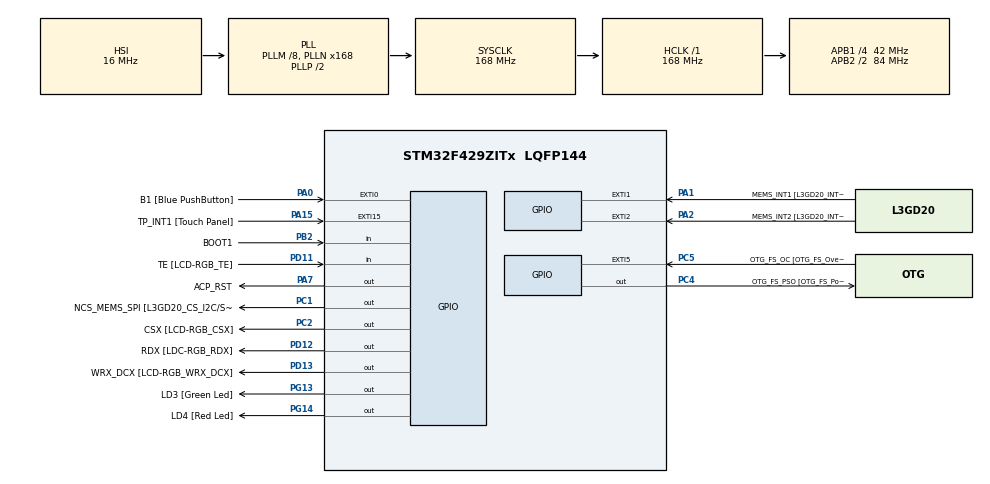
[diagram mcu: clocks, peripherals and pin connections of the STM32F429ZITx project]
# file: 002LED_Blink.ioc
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Mcu.Family=STM32F4
Mcu.Name=STM32F429ZITx
Mcu.Package=LQFP144
NVIC.PriorityGroup=NVIC_PRIORITYGROUP_4
NVIC.TIM6_DAC_IRQn=true\:0\:0\:false\:false\:true\:false\:true\:true
NVIC.TimeBase=TIM6_DAC_IRQn
NVIC.TimeBaseIP=TIM6
PA0/WKUP.GPIO_Label=B1 [Blue PushButton]
PA0/WKUP.GPIO_ModeDefaultEXTI=GPIO_MODE_EVT_RISING
PA0/WKUP.GPIO_PuPd=GPIO_NOPULL
PA0/WKUP.Signal=GPXTI0
PA1.GPIO_Label=MEMS_INT1 [L3GD20_INT1]
PA1.GPIO_ModeDefaultEXTI=GPIO_MODE_EVT_RISING
PA1.GPIO_PuPd=GPIO_NOPULL
PA1.Signal=GPXTI1
PA10.GPIO_Label=STLINK_TX [STM32F103CBT6_PA2]
PA10.Signal=USART1_RX
PA11.GPIO_Label=R4
PA11.GPIO_Mode=GPIO_MODE_AF_PP
PA11.GPIO_PuPd=GPIO_NOPULL
PA11.GPIO_Speed=GPIO_SPEED_FREQ_LOW
PA11.Signal=LTDC_R4
PA12.GPIO_Label=R5
PA12.GPIO_Mode=GPIO_MODE_AF_PP
PA12.GPIO_PuPd=GPIO_NOPULL
PA12.GPIO_Speed=GPIO_SPEED_FREQ_LOW
PA12.Signal=LTDC_R5
PA13.GPIO_Label=SWDIO
PA13.Signal=SYS_JTMS-SWDIO
PA14.GPIO_Label=SWCLK
PA14.Signal=SYS_JTCK-SWCLK
PA15.GPIO_Label=TP_INT1 [Touch Panel]
PA15.GPIO_ModeDefaultEXTI=GPIO_MODE_EVT_RISING
PA15.GPIO_PuPd=GPIO_NOPULL
PA15.Signal=GPXTI15
PA2.GPIO_Label=MEMS_INT2 [L3GD20_INT2]
PA2.GPIO_ModeDefaultEXTI=GPIO_MODE_EVT_RISING
PA2.GPIO_PuPd=GPIO_NOPULL
PA2.Signal=GPXTI2
PA3.GPIO_Label=B5
PA3.GPIO_Mode=GPIO_MODE_AF_PP
PA3.GPIO_PuPd=GPIO_NOPULL
PA3.GPIO_Speed=GPIO_SPEED_FREQ_LOW
PA3.Signal=LTDC_B5
PA4.GPIO_Label=VSYNC
PA4.GPIO_Mode=GPIO_MODE_AF_PP
PA4.GPIO_PuPd=GPIO_NOPULL
PA4.GPIO_Speed=GPIO_SPEED_FREQ_LOW
PA4.Signal=LTDC_VSYNC
PA6.GPIO_Label=G2
PA6.GPIO_Mode=GPIO_MODE_AF_PP
PA6.GPIO_PuPd=GPIO_NOPULL
PA6.GPIO_Speed=GPIO_SPEED_FREQ_LOW
PA6.Signal=LTDC_G2
PA7.GPIO_Label=ACP_RST
PA7.GPIO_Mode=GPIO_MODE_OUTPUT_PP
PA7.GPIO_PuPd=GPIO_NOPULL
PA7.GPIO_Speed=GPIO_SPEED_FREQ_LOW
PA7.Signal=GPIO_Output
PA8.GPIO_Label=I2C3_SCL [ACP/RF_SCL]
PA8.GPIO_Mode=GPIO_MODE_AF_OD
PA8.GPIO_PuPd=GPIO_NOPULL
PA8.GPIO_Speed=GPIO_SPEED_FREQ_LOW
PA8.Signal=I2C3_SCL
PA9.GPIO_Label=STLINK_RX [STM32F103CBT6_PA3]
PA9.Signal=USART1_TX
PB0.GPIO_Label=R3
PB0.GPIO_Mode=GPIO_MODE_AF_PP
PB0.GPIO_PuPd=GPIO_NOPULL
PB0.GPIO_Speed=GPIO_SPEED_FREQ_LOW
PB0.Signal=LTDC_R3
PB1.GPIO_Label=R6
PB1.GPIO_Mode=GPIO_MODE_AF_PP
PB1.GPIO_PuPd=GPIO_NOPULL
PB1.GPIO_Speed=GPIO_SPEED_FREQ_LOW
PB1.Signal=LTDC_R6
PB10.GPIO_Label=G4
PB10.GPIO_Mode=GPIO_MODE_AF_PP
PB10.GPIO_PuPd=GPIO_NOPULL
PB10.GPIO_Speed=GPIO_SPEED_FREQ_LOW
PB10.Signal=LTDC_G4
PB11.GPIO_Label=G5
PB11.GPIO_Mode=GPIO_MODE_AF_PP
PB11.GPIO_PuPd=GPIO_NOPULL
PB11.GPIO_Speed=GPIO_SPEED_FREQ_LOW
PB11.Signal=LTDC_G5
PB12.GPIO_Label=OTG_HS_ID
PB12.GPIO_Mode=GPIO_MODE_AF_PP
PB12.GPIO_PuPd=GPIO_NOPULL
PB12.GPIO_Speed=GPIO_SPEED_FREQ_LOW
PB12.Signal=USB_OTG_HS_ID
PB13.GPIO_Label=VBUS_HS
PB13.GPIO_Mode=GPIO_MODE_INPUT
PB13.GPIO_PuPd=GPIO_NOPULL
PB13.Signal=USB_OTG_HS_VBUS
PB14.GPIO_Label=OTG_HS_DM
PB14.GPIO_Mode=GPIO_MODE_AF_PP
PB14.GPIO_PuPd=GPIO_NOPULL
PB14.GPIO_Speed=GPIO_SPEED_FREQ_LOW
PB14.Signal=USB_OTG_HS_DM
PB15.GPIO_Label=OTG_HS_DP
PB15.GPIO_Mode=GPIO_MODE_AF_PP
PB15.GPIO_PuPd=GPIO_NOPULL
PB15.GPIO_Speed=GPIO_SPEED_FREQ_LOW
PB15.Signal=USB_OTG_HS_DP
PB2/BOOT1.GPIO_Label=BOOT1
PB2/BOOT1.GPIO_Mode=GPIO_MODE_INPUT
PB2/BOOT1.GPIO_PuPd=GPIO_NOPULL
PB2/BOOT1.Signal=GPIO_Input
PB5.GPIO_Label=SDCKE1
PB5.GPIO_Mode=GPIO_MODE_AF_PP
PB5.GPIO_PuPd=GPIO_NOPULL
PB5.GPIO_Speed=GPIO_SPEED_FREQ_VERY_HIGH
PB5.Signal=FMC_SDCKE1
PB6.GPIO_Label=SDNE1 [SDRAM_CS]
PB6.GPIO_Mode=GPIO_MODE_AF_PP
PB6.GPIO_PuPd=GPIO_NOPULL
PB6.GPIO_Speed=GPIO_SPEED_FREQ_VERY_HIGH
PB6.Signal=FMC_SDNE1
PB8.GPIO_Label=B6
PB8.GPIO_Mode=GPIO_MODE_AF_PP
PB8.GPIO_PuPd=GPIO_NOPULL
PB8.GPIO_Speed=GPIO_SPEED_FREQ_LOW
PB8.Signal=LTDC_B6
PB9.GPIO_Label=B7
PB9.GPIO_Mode=GPIO_MODE_AF_PP
PB9.GPIO_PuPd=GPIO_NOPULL
PB9.GPIO_Speed=GPIO_SPEED_FREQ_LOW
PB9.Signal=LTDC_B7
PC0.GPIO_Label=SDNWE
PC0.GPIO_Mode=GPIO_MODE_AF_PP
PC0.GPIO_PuPd=GPIO_NOPULL
PC0.GPIO_Speed=GPIO_SPEED_FREQ_VERY_HIGH
PC0.Signal=FMC_SDNWE
PC1.GPIO_Label=NCS_MEMS_SPI [L3GD20_CS_I2C/SPI]
PC1.GPIO_Mode=GPIO_MODE_OUTPUT_PP
PC1.GPIO_PuPd=GPIO_NOPULL
PC1.GPIO_Speed=GPIO_SPEED_FREQ_LOW
PC1.Signal=GPIO_Output
PC10.GPIO_Label=R2
PC10.GPIO_Mode=GPIO_MODE_AF_PP
PC10.GPIO_PuPd=GPIO_NOPULL
PC10.GPIO_Speed=GPIO_SPEED_FREQ_LOW
PC10.Signal=LTDC_R2
PC14/OSC32_IN.GPIO_Label=PC14-OSC32_IN
PC14/OSC32_IN.Signal=RCC_OSC32_IN
PC15/OSC32_OUT.GPIO_Label=PC15-OSC32_OUT
PC15/OSC32_OUT.Signal=RCC_OSC32_OUT
PC2.GPIO_Label=CSX [LCD-RGB_CSX]
PC2.GPIO_Mode=GPIO_MODE_OUTPUT_PP
PC2.GPIO_PuPd=GPIO_NOPULL
PC2.GPIO_Speed=GPIO_SPEED_FREQ_LOW
PC2.Signal=GPIO_Output
PC4.GPIO_Label=OTG_FS_PSO [OTG_FS_PowerSwitchOn]
PC4.GPIO_Mode=GPIO_MODE_OUTPUT_PP
PC4.GPIO_PuPd=GPIO_NOPULL
PC4.GPIO_Speed=GPIO_SPEED_FREQ_LOW
PC4.Signal=GPIO_Output
PC5.GPIO_Label=OTG_FS_OC [OTG_FS_OverCurrent]
PC5.GPIO_ModeDefaultEXTI=GPIO_MODE_EVT_RISING
PC5.Signal=GPXTI5
PC6.GPIO_Label=HSYNC
PC6.GPIO_Mode=GPIO_MODE_AF_PP
PC6.GPIO_PuPd=GPIO_NOPULL
PC6.GPIO_Speed=GPIO_SPEED_FREQ_LOW
PC6.Signal=LTDC_HSYNC
PC7.GPIO_Label=G6
PC7.GPIO_Mode=GPIO_MODE_AF_PP
PC7.GPIO_PuPd=GPIO_NOPULL
PC7.GPIO_Speed=GPIO_SPEED_FREQ_LOW
PC7.Signal=LTDC_G6
PC9.GPIO_Label=I2C3_SDA [ACP/RF_SDA]
PC9.GPIO_Mode=GPIO_MODE_AF_OD
PC9.GPIO_PuPd=GPIO_NOPULL
PC9.GPIO_Speed=GPIO_SPEED_FREQ_LOW
PC9.Signal=I2C3_SDA
PD0.GPIO_Label=D2
PD0.GPIO_Mode=GPIO_MODE_AF_PP
PD0.GPIO_PuPd=GPIO_NOPULL
PD0.GPIO_Speed=GPIO_SPEED_FREQ_VERY_HIGH
PD0.Signal=FMC_D2_DA2
PD1.GPIO_Label=D3
PD1.GPIO_Mode=GPIO_MODE_AF_PP
PD1.GPIO_PuPd=GPIO_NOPULL
PD1.GPIO_Speed=GPIO_SPEED_FREQ_VERY_HIGH
PD1.Signal=FMC_D3_DA3
PD10.GPIO_Label=D15
PD10.GPIO_Mode=GPIO_MODE_AF_PP
PD10.GPIO_PuPd=GPIO_NOPULL
PD10.GPIO_Speed=GPIO_SPEED_FREQ_VERY_HIGH
PD10.Signal=FMC_D15_DA15
PD11.GPIO_Label=TE [LCD-RGB_TE]
PD11.GPIO_Mode=GPIO_MODE_INPUT
PD11.GPIO_PuPd=GPIO_NOPULL
PD11.Signal=GPIO_Input
PD12.GPIO_Label=RDX [LDC-RGB_RDX]
PD12.GPIO_Mode=GPIO_MODE_OUTPUT_PP
PD12.GPIO_PuPd=GPIO_NOPULL
PD12.GPIO_Speed=GPIO_SPEED_FREQ_LOW
PD12.Signal=GPIO_Output
PD13.GPIO_Label=WRX_DCX [LCD-RGB_WRX_DCX]
PD13.GPIO_Mode=GPIO_MODE_OUTPUT_PP
PD13.GPIO_PuPd=GPIO_NOPULL
PD13.GPIO_Speed=GPIO_SPEED_FREQ_LOW
PD13.Signal=GPIO_Output
PD14.GPIO_Label=D0
PD14.GPIO_Mode=GPIO_MODE_AF_PP
PD14.GPIO_PuPd=GPIO_NOPULL
PD14.GPIO_Speed=GPIO_SPEED_FREQ_VERY_HIGH
PD14.Signal=FMC_D0_DA0
PD15.GPIO_Label=D1
PD15.GPIO_Mode=GPIO_MODE_AF_PP
PD15.GPIO_PuPd=GPIO_NOPULL
PD15.GPIO_Speed=GPIO_SPEED_FREQ_VERY_HIGH
PD15.Signal=FMC_D1_DA1
PD3.GPIO_Label=G7
PD3.GPIO_Mode=GPIO_MODE_AF_PP
PD3.GPIO_PuPd=GPIO_NOPULL
PD3.GPIO_Speed=GPIO_SPEED_FREQ_LOW
PD3.Signal=LTDC_G7
PD6.GPIO_Label=B2
PD6.GPIO_Mode=GPIO_MODE_AF_PP
PD6.GPIO_PuPd=GPIO_NOPULL
PD6.GPIO_Speed=GPIO_SPEED_FREQ_LOW
PD6.Signal=LTDC_B2
PD8.GPIO_Label=D13
PD8.GPIO_Mode=GPIO_MODE_AF_PP
PD8.GPIO_PuPd=GPIO_NOPULL
PD8.GPIO_Speed=GPIO_SPEED_FREQ_VERY_HIGH
PD8.Signal=FMC_D13_DA13
PD9.GPIO_Label=D14
PD9.GPIO_Mode=GPIO_MODE_AF_PP
PD9.GPIO_PuPd=GPIO_NOPULL
PD9.GPIO_Speed=GPIO_SPEED_FREQ_VERY_HIGH
PD9.Signal=FMC_D14_DA14
PE0.GPIO_Label=NBL0 [SDRAM_LDQM]
PE0.GPIO_Mode=GPIO_MODE_AF_PP
PE0.GPIO_PuPd=GPIO_NOPULL
PE0.GPIO_Speed=GPIO_SPEED_FREQ_VERY_HIGH
PE0.Signal=FMC_NBL0
PE1.GPIO_Label=NBL1 [SDRAM_UDQM]
PE1.GPIO_Mode=GPIO_MODE_AF_PP
PE1.GPIO_PuPd=GPIO_NOPULL
PE1.GPIO_Speed=GPIO_SPEED_FREQ_VERY_HIGH
PE1.Signal=FMC_NBL1
PE10.GPIO_Label=D7
PE10.GPIO_Mode=GPIO_MODE_AF_PP
PE10.GPIO_PuPd=GPIO_NOPULL
PE10.GPIO_Speed=GPIO_SPEED_FREQ_VERY_HIGH
PE10.Signal=FMC_D7_DA7
PE11.GPIO_Label=D8
PE11.GPIO_Mode=GPIO_MODE_AF_PP
PE11.GPIO_PuPd=GPIO_NOPULL
PE11.GPIO_Speed=GPIO_SPEED_FREQ_VERY_HIGH
PE11.Signal=FMC_D8_DA8
PE12.GPIO_Label=D9
PE12.GPIO_Mode=GPIO_MODE_AF_PP
PE12.GPIO_PuPd=GPIO_NOPULL
PE12.GPIO_Speed=GPIO_SPEED_FREQ_VERY_HIGH
PE12.Signal=FMC_D9_DA9
PE13.GPIO_Label=D10
PE13.GPIO_Mode=GPIO_MODE_AF_PP
PE13.GPIO_PuPd=GPIO_NOPULL
PE13.GPIO_Speed=GPIO_SPEED_FREQ_VERY_HIGH
PE13.Signal=FMC_D10_DA10
PE14.GPIO_Label=D11
PE14.GPIO_Mode=GPIO_MODE_AF_PP
PE14.GPIO_PuPd=GPIO_NOPULL
PE14.GPIO_Speed=GPIO_SPEED_FREQ_VERY_HIGH
PE14.Signal=FMC_D11_DA11
PE15.GPIO_Label=D12
PE15.GPIO_Mode=GPIO_MODE_AF_PP
PE15.GPIO_PuPd=GPIO_NOPULL
PE15.GPIO_Speed=GPIO_SPEED_FREQ_VERY_HIGH
PE15.Signal=FMC_D12_DA12
PE7.GPIO_Label=D4
PE7.GPIO_Mode=GPIO_MODE_AF_PP
PE7.GPIO_PuPd=GPIO_NOPULL
PE7.GPIO_Speed=GPIO_SPEED_FREQ_VERY_HIGH
PE7.Signal=FMC_D4_DA4
PE8.GPIO_Label=D5
PE8.GPIO_Mode=GPIO_MODE_AF_PP
PE8.GPIO_PuPd=GPIO_NOPULL
PE8.GPIO_Speed=GPIO_SPEED_FREQ_VERY_HIGH
PE8.Signal=FMC_D5_DA5
PE9.GPIO_Label=D6
PE9.GPIO_Mode=GPIO_MODE_AF_PP
PE9.GPIO_PuPd=GPIO_NOPULL
PE9.GPIO_Speed=GPIO_SPEED_FREQ_VERY_HIGH
PE9.Signal=FMC_D6_DA6
PF0.GPIO_Label=A0
PF0.GPIO_Mode=GPIO_MODE_AF_PP
PF0.GPIO_PuPd=GPIO_NOPULL
PF0.GPIO_Speed=GPIO_SPEED_FREQ_VERY_HIGH
PF0.Signal=FMC_A0
PF1.GPIO_Label=A1
PF1.GPIO_Mode=GPIO_MODE_AF_PP
PF1.GPIO_PuPd=GPIO_NOPULL
PF1.GPIO_Speed=GPIO_SPEED_FREQ_VERY_HIGH
PF1.Signal=FMC_A1
PF10.GPIO_Label=ENABLE [LCD-RGB_ENABLE]
PF10.GPIO_Mode=GPIO_MODE_AF_PP
PF10.GPIO_PuPd=GPIO_NOPULL
PF10.GPIO_Speed=GPIO_SPEED_FREQ_LOW
PF10.Signal=LTDC_DE
PF11.GPIO_Label=SDNRAS
PF11.GPIO_Mode=GPIO_MODE_AF_PP
PF11.GPIO_PuPd=GPIO_NOPULL
PF11.GPIO_Speed=GPIO_SPEED_FREQ_VERY_HIGH
PF11.Signal=FMC_SDNRAS
PF12.GPIO_Label=A6
PF12.GPIO_Mode=GPIO_MODE_AF_PP
PF12.GPIO_PuPd=GPIO_NOPULL
PF12.GPIO_Speed=GPIO_SPEED_FREQ_VERY_HIGH
PF12.Signal=FMC_A6
PF13.GPIO_Label=A7
PF13.GPIO_Mode=GPIO_MODE_AF_PP
PF13.GPIO_PuPd=GPIO_NOPULL
PF13.GPIO_Speed=GPIO_SPEED_FREQ_VERY_HIGH
PF13.Signal=FMC_A7
PF14.GPIO_Label=A8
PF14.GPIO_Mode=GPIO_MODE_AF_PP
PF14.GPIO_PuPd=GPIO_NOPULL
PF14.GPIO_Speed=GPIO_SPEED_FREQ_VERY_HIGH
PF14.Signal=FMC_A8
PF15.GPIO_Label=A9
PF15.GPIO_Mode=GPIO_MODE_AF_PP
PF15.GPIO_PuPd=GPIO_NOPULL
PF15.GPIO_Speed=GPIO_SPEED_FREQ_VERY_HIGH
PF15.Signal=FMC_A9
PF2.GPIO_Label=A2
PF2.GPIO_Mode=GPIO_MODE_AF_PP
PF2.GPIO_PuPd=GPIO_NOPULL
PF2.GPIO_Speed=GPIO_SPEED_FREQ_VERY_HIGH
PF2.Signal=FMC_A2
PF3.GPIO_Label=A3
PF3.GPIO_Mode=GPIO_MODE_AF_PP
PF3.GPIO_PuPd=GPIO_NOPULL
PF3.GPIO_Speed=GPIO_SPEED_FREQ_VERY_HIGH
PF3.Signal=FMC_A3
PF4.GPIO_Label=A4
PF4.GPIO_Mode=GPIO_MODE_AF_PP
PF4.GPIO_PuPd=GPIO_NOPULL
PF4.GPIO_Speed=GPIO_SPEED_FREQ_VERY_HIGH
PF4.Signal=FMC_A4
PF5.GPIO_Label=A5
PF5.GPIO_Mode=GPIO_MODE_AF_PP
PF5.GPIO_PuPd=GPIO_NOPULL
PF5.GPIO_Speed=GPIO_SPEED_FREQ_VERY_HIGH
PF5.Signal=FMC_A5
PF7.GPIO_Label=SPI5_SCK [L3GD20_SCL/SPC]
PF7.GPIO_Mode=GPIO_MODE_AF_PP
PF7.GPIO_PuPd=GPIO_NOPULL
PF7.GPIO_Speed=GPIO_SPEED_FREQ_LOW
PF7.Signal=SPI5_SCK
PF8.GPIO_Label=SPI5_MISO [L3GD20_SDO]
PF8.GPIO_Mode=GPIO_MODE_AF_PP
PF8.GPIO_PuPd=GPIO_NOPULL
PF8.GPIO_Speed=GPIO_SPEED_FREQ_LOW
PF8.Signal=SPI5_MISO
PF9.GPIO_Label=SPI5_MOSI [L3GD20_SDA/SDI/SDO]
PF9.GPIO_Mode=GPIO_MODE_AF_PP
PF9.GPIO_PuPd=GPIO_NOPULL
PF9.GPIO_Speed=GPIO_SPEED_FREQ_LOW
PF9.Signal=SPI5_MOSI
PG0.GPIO_Label=A10
PG0.GPIO_Mode=GPIO_MODE_AF_PP
PG0.GPIO_PuPd=GPIO_NOPULL
PG0.GPIO_Speed=GPIO_SPEED_FREQ_VERY_HIGH
PG0.Signal=FMC_A10
PG1.GPIO_Label=A11
PG1.GPIO_Mode=GPIO_MODE_AF_PP
PG1.GPIO_PuPd=GPIO_NOPULL
PG1.GPIO_Speed=GPIO_SPEED_FREQ_VERY_HIGH
PG1.Signal=FMC_A11
PG10.GPIO_Label=G3
PG10.GPIO_Mode=GPIO_MODE_AF_PP
PG10.GPIO_PuPd=GPIO_NOPULL
PG10.GPIO_Speed=GPIO_SPEED_FREQ_LOW
PG10.Signal=LTDC_G3
PG11.GPIO_Label=B3
PG11.GPIO_Mode=GPIO_MODE_AF_PP
PG11.GPIO_PuPd=GPIO_NOPULL
PG11.GPIO_Speed=GPIO_SPEED_FREQ_LOW
PG11.Signal=LTDC_B3
PG12.GPIO_Label=B4
PG12.GPIO_Mode=GPIO_MODE_AF_PP
PG12.GPIO_PuPd=GPIO_NOPULL
PG12.GPIO_Speed=GPIO_SPEED_FREQ_LOW
PG12.Signal=LTDC_B4
PG13.GPIO_Label=LD3 [Green Led]
PG13.GPIO_Mode=GPIO_MODE_OUTPUT_PP
PG13.GPIO_PuPd=GPIO_NOPULL
PG13.GPIO_Speed=GPIO_SPEED_FREQ_LOW
PG13.Signal=GPIO_Output
PG14.GPIO_Label=LD4 [Red Led]
PG14.GPIO_Mode=GPIO_MODE_OUTPUT_PP
PG14.GPIO_PuPd=GPIO_NOPULL
PG14.GPIO_Speed=GPIO_SPEED_FREQ_LOW
PG14.Signal=GPIO_Output
PG15.GPIO_Label=SDNCAS
PG15.GPIO_Mode=GPIO_MODE_AF_PP
PG15.GPIO_PuPd=GPIO_NOPULL
PG15.GPIO_Speed=GPIO_SPEED_FREQ_VERY_HIGH
PG15.Signal=FMC_SDNCAS
PG4.GPIO_Label=BA0
PG4.GPIO_Mode=GPIO_MODE_AF_PP
PG4.GPIO_PuPd=GPIO_NOPULL
PG4.GPIO_Speed=GPIO_SPEED_FREQ_VERY_HIGH
PG4.Signal=FMC_A14_BA0
PG5.GPIO_Label=BA1
PG5.GPIO_Mode=GPIO_MODE_AF_PP
PG5.GPIO_PuPd=GPIO_NOPULL
PG5.GPIO_Speed=GPIO_SPEED_FREQ_VERY_HIGH
PG5.Signal=FMC_A15_BA1
PG6.GPIO_Label=R7
PG6.GPIO_Mode=GPIO_MODE_AF_PP
PG6.GPIO_PuPd=GPIO_NOPULL
PG6.GPIO_Speed=GPIO_SPEED_FREQ_LOW
PG6.Signal=LTDC_R7
PG7.GPIO_Label=DOTCLK [LCT-RGB_DOTCLK]
PG7.GPIO_Mode=GPIO_MODE_AF_PP
PG7.GPIO_PuPd=GPIO_NOPULL
PG7.GPIO_Speed=GPIO_SPEED_FREQ_LOW
PG7.Signal=LTDC_CLK
PG8.GPIO_Label=SDCLK
PG8.GPIO_Mode=GPIO_MODE_AF_PP
PG8.GPIO_PuPd=GPIO_NOPULL
PG8.GPIO_Speed=GPIO_SPEED_FREQ_VERY_HIGH
PG8.Signal=FMC_SDCLK
PH0/OSC_IN.GPIO_Label=PH0-OSC_IN
PH0/OSC_IN.Signal=RCC_OSC_IN
PH1/OSC_OUT.GPIO_Label=PH1-OSC_OUT
PH1/OSC_OUT.Signal=RCC_OSC_OUT
ProjectManager.HeapSize=0x200
ProjectManager.StackSize=0x400
ProjectManager.TargetToolchain=STM32CubeIDE
RCC.48MHZClocksFreq_Value=48000000
RCC.AHBFreq_Value=168000000
RCC.APB1CLKDivider=RCC_HCLK_DIV4
RCC.APB1Freq_Value=42000000
RCC.APB1TimFreq_Value=84000000
RCC.APB2CLKDivider=RCC_HCLK_DIV2
RCC.APB2Freq_Value=84000000
RCC.APB2TimFreq_Value=168000000
RCC.CortexFreq_Value=168000000
RCC.HCLKFreq_Value=168000000
RCC.HSE_VALUE=8000000
RCC.HSI_VALUE=16000000
RCC.LSE_VALUE=32768
RCC.PLLM=8
RCC.PLLN=168
RCC.PLLQ=7
RCC.SYSCLKFreq_VALUE=168000000
RCC.SYSCLKSource=RCC_SYSCLKSOURCE_PLLCLK
RCC.VCOOutputFreq_Value=336000000
SH.FMC_A0.0=FMC_A0
SH.FMC_A1.0=FMC_A1
SH.FMC_A10.0=FMC_A10
SH.FMC_A11.0=FMC_A11
SH.FMC_A14_BA0.0=FMC_BA0
SH.FMC_A15_BA1.0=FMC_BA1
SH.FMC_A2.0=FMC_A2
SH.FMC_A3.0=FMC_A3
SH.FMC_A4.0=FMC_A4
SH.FMC_A5.0=FMC_A5
SH.FMC_A6.0=FMC_A6
SH.FMC_A7.0=FMC_A7
SH.FMC_A8.0=FMC_A8
SH.FMC_A9.0=FMC_A9
SH.FMC_D0_DA0.0=FMC_D0
SH.FMC_D10_DA10.0=FMC_D10
SH.FMC_D11_DA11.0=FMC_D11
SH.FMC_D12_DA12.0=FMC_D12
SH.FMC_D13_DA13.0=FMC_D13
SH.FMC_D14_DA14.0=FMC_D14
SH.FMC_D15_DA15.0=FMC_D15
SH.FMC_D1_DA1.0=FMC_D1
SH.FMC_D2_DA2.0=FMC_D2
SH.FMC_D3_DA3.0=FMC_D3
SH.FMC_D4_DA4.0=FMC_D4
SH.FMC_D5_DA5.0=FMC_D5
SH.FMC_D6_DA6.0=FMC_D6
SH.FMC_D7_DA7.0=FMC_D7
SH.FMC_D8_DA8.0=FMC_D8
SH.FMC_D9_DA9.0=FMC_D9
SH.FMC_NBL0.0=FMC_NBL0
SH.FMC_NBL1.0=FMC_NBL1
SH.FMC_SDCLK.0=FMC_SDCLK
SH.FMC_SDNCAS.0=FMC_SDNCAS
SH.FMC_SDNRAS.0=FMC_SDNRAS
SH.FMC_SDNWE.0=FMC_SDNWE
VP_SYS_VS_tim6.Mode=TIM6
board=STM32F429I-DISC1

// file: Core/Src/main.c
/* USER CODE BEGIN Header */
/**
  ******************************************************************************
  * @file           : main.c
  * @brief          : Main program body
  ******************************************************************************
  * @attention
  *
  * Copyright (c) 2024 STMicroelectronics.
  * All rights reserved.
  *
  * This software is licensed under terms that can be found in the LICENSE file
  * in the root directory of this software component.
  * If no LICENSE file comes with this software, it is provided AS-IS.
  *
  ******************************************************************************
  */
/* USER CODE END Header */
#include "main.h"

/* USER CODE BEGIN Includes */
#include "FreeRTOS.h"
#include "task.h"
#include "SEGGER_SYSVIEW_FreeRTOS.h"

/* USER CODE END Includes */

/* USER CODE BEGIN PV */

#define DWT_CTRL (volatile uint32_t*)0xE0001000

/* USER CODE END PV */

void SystemClock_Config(void);
static void MX_GPIO_Init(void);
/* USER CODE BEGIN PFP */

static void led_green_handler(void *pvParam);
static void led_red_handler(void *pvParam);
static void dummy_handler(void *pvParam);

extern void SEGGER_UART_init(U32 baud);

/* USER CODE END PFP */

int main(void)
{
  /* USER CODE BEGIN 1 */

	BaseType_t xReturned = 0;
	TaskHandle_t xTask1Handle = NULL, xTask2Handle = NULL, xTask3Handle = NULL;

  /* USER CODE END 1 */

  /* MCU Configuration--------------------------------------------------------*/

  /* Reset of all peripherals, Initializes the Flash interface and the Systick. */
  HAL_Init();

  /* Configure the system clock */
  SystemClock_Config();

  /* Initialize all configured peripherals */
  MX_GPIO_Init();
  /* USER CODE BEGIN 2 */

  // enable the CYCCNT counter
  *DWT_CTRL |= (1 << 0);

  // enable usart
  SEGGER_UART_init(500000);

  // start segger recording
  SEGGER_SYSVIEW_Conf();

  xReturned = xTaskCreate(led_green_handler, "led_green_task", 200, NULL, 2, &xTask1Handle);
  configASSERT(pdPASS == xReturned);

  xReturned = xTaskCreate(led_red_handler, "led_red_task", 200, NULL, 2, &xTask2Handle);
  configASSERT(pdPASS == xReturned);

  xReturned = xTaskCreate(dummy_handler, "dummy_delay_task", 200, NULL, 2, &xTask3Handle);
  configASSERT(pdPASS == xReturned);

  // start the scheduler
  vTaskStartScheduler();

  /* USER CODE END 2 */

  /* Infinite loop */
  while (1)
  {

  }
}

void SystemClock_Config(void)
{
  RCC_OscInitTypeDef RCC_OscInitStruct = {0};
  RCC_ClkInitTypeDef RCC_ClkInitStruct = {0};

  /** Configure the main internal regulator output voltage
  */
  __HAL_RCC_PWR_CLK_ENABLE();
  __HAL_PWR_VOLTAGESCALING_CONFIG(PWR_REGULATOR_VOLTAGE_SCALE1);

  /** Initializes the RCC Oscillators according to the specified parameters
  * in the RCC_OscInitTypeDef structure.
  */
  RCC_OscInitStruct.OscillatorType = RCC_OSCILLATORTYPE_HSI;
  RCC_OscInitStruct.HSIState = RCC_HSI_ON;
  RCC_OscInitStruct.HSICalibrationValue = RCC_HSICALIBRATION_DEFAULT;
  RCC_OscInitStruct.PLL.PLLState = RCC_PLL_ON;
  RCC_OscInitStruct.PLL.PLLSource = RCC_PLLSOURCE_HSI;
  RCC_OscInitStruct.PLL.PLLM = 8;
  RCC_OscInitStruct.PLL.PLLN = 168;
  RCC_OscInitStruct.PLL.PLLP = RCC_PLLP_DIV2;
  RCC_OscInitStruct.PLL.PLLQ = 7;
  if (HAL_RCC_OscConfig(&RCC_OscInitStruct) != HAL_OK)
  {
    Error_Handler();
  }

  /** Initializes the CPU, AHB and APB buses clocks
  */
  RCC_ClkInitStruct.ClockType = RCC_CLOCKTYPE_HCLK|RCC_CLOCKTYPE_SYSCLK
                              |RCC_CLOCKTYPE_PCLK1|RCC_CLOCKTYPE_PCLK2;
  RCC_ClkInitStruct.SYSCLKSource = RCC_SYSCLKSOURCE_PLLCLK;
  RCC_ClkInitStruct.AHBCLKDivider = RCC_SYSCLK_DIV1;
  RCC_ClkInitStruct.APB1CLKDivider = RCC_HCLK_DIV4;
  RCC_ClkInitStruct.APB2CLKDivider = RCC_HCLK_DIV2;

  if (HAL_RCC_ClockConfig(&RCC_ClkInitStruct, FLASH_LATENCY_5) != HAL_OK)
  {
    Error_Handler();
  }
}

static void MX_GPIO_Init(void)
{
  GPIO_InitTypeDef GPIO_InitStruct = {0};

  /* GPIO Ports Clock Enable */
  __HAL_RCC_GPIOC_CLK_ENABLE();
  __HAL_RCC_GPIOF_CLK_ENABLE();
  __HAL_RCC_GPIOH_CLK_ENABLE();
  __HAL_RCC_GPIOA_CLK_ENABLE();
  __HAL_RCC_GPIOB_CLK_ENABLE();
  __HAL_RCC_GPIOG_CLK_ENABLE();
  __HAL_RCC_GPIOE_CLK_ENABLE();
  __HAL_RCC_GPIOD_CLK_ENABLE();

  /*Configure GPIO pin Output Level */
  HAL_GPIO_WritePin(GPIOC, NCS_MEMS_SPI_Pin|CSX_Pin|OTG_FS_PSO_Pin, GPIO_PIN_RESET);

  /*Configure GPIO pin Output Level */
  HAL_GPIO_WritePin(ACP_RST_GPIO_Port, ACP_RST_Pin, GPIO_PIN_RESET);

  /*Configure GPIO pin Output Level */
  HAL_GPIO_WritePin(GPIOD, RDX_Pin|WRX_DCX_Pin, GPIO_PIN_RESET);

  /*Configure GPIO pin Output Level */
  HAL_GPIO_WritePin(GPIOG, LD3_Pin|LD4_Pin, GPIO_PIN_RESET);

  /*Configure GPIO pins : A0_Pin A1_Pin A2_Pin A3_Pin
                           A4_Pin A5_Pin SDNRAS_Pin A6_Pin
                           A7_Pin A8_Pin A9_Pin */
  GPIO_InitStruct.Pin = A0_Pin|A1_Pin|A2_Pin|A3_Pin
                          |A4_Pin|A5_Pin|SDNRAS_Pin|A6_Pin
                          |A7_Pin|A8_Pin|A9_Pin;
  GPIO_InitStruct.Mode = GPIO_MODE_AF_PP;
  GPIO_InitStruct.Pull = GPIO_NOPULL;
  GPIO_InitStruct.Speed = GPIO_SPEED_FREQ_VERY_HIGH;
  GPIO_InitStruct.Alternate = GPIO_AF12_FMC;
  HAL_GPIO_Init(GPIOF, &GPIO_InitStruct);

  /*Configure GPIO pins : SPI5_SCK_Pin SPI5_MISO_Pin SPI5_MOSI_Pin */
  GPIO_InitStruct.Pin = SPI5_SCK_Pin|SPI5_MISO_Pin|SPI5_MOSI_Pin;
  GPIO_InitStruct.Mode = GPIO_MODE_AF_PP;
  GPIO_InitStruct.Pull = GPIO_NOPULL;
  GPIO_InitStruct.Speed = GPIO_SPEED_FREQ_LOW;
  GPIO_InitStruct.Alternate = GPIO_AF5_SPI5;
  HAL_GPIO_Init(GPIOF, &GPIO_InitStruct);

  /*Configure GPIO pin : ENABLE_Pin */
  GPIO_InitStruct.Pin = ENABLE_Pin;
  GPIO_InitStruct.Mode = GPIO_MODE_AF_PP;
  GPIO_InitStruct.Pull = GPIO_NOPULL;
  GPIO_InitStruct.Speed = GPIO_SPEED_FREQ_LOW;
  GPIO_InitStruct.Alternate = GPIO_AF14_LTDC;
  HAL_GPIO_Init(ENABLE_GPIO_Port, &GPIO_InitStruct);

  /*Configure GPIO pin : SDNWE_Pin */
  GPIO_InitStruct.Pin = SDNWE_Pin;
  GPIO_InitStruct.Mode = GPIO_MODE_AF_PP;
  GPIO_InitStruct.Pull = GPIO_NOPULL;
  GPIO_InitStruct.Speed = GPIO_SPEED_FREQ_VERY_HIGH;
  GPIO_InitStruct.Alternate = GPIO_AF12_FMC;
  HAL_GPIO_Init(SDNWE_GPIO_Port, &GPIO_InitStruct);

  /*Configure GPIO pins : NCS_MEMS_SPI_Pin CSX_Pin OTG_FS_PSO_Pin */
  GPIO_InitStruct.Pin = NCS_MEMS_SPI_Pin|CSX_Pin|OTG_FS_PSO_Pin;
  GPIO_InitStruct.Mode = GPIO_MODE_OUTPUT_PP;
  GPIO_InitStruct.Pull = GPIO_NOPULL;
  GPIO_InitStruct.Speed = GPIO_SPEED_FREQ_LOW;
  HAL_GPIO_Init(GPIOC, &GPIO_InitStruct);

  /*Configure GPIO pins : B1_Pin MEMS_INT1_Pin MEMS_INT2_Pin TP_INT1_Pin */
  GPIO_InitStruct.Pin = B1_Pin|MEMS_INT1_Pin|MEMS_INT2_Pin|TP_INT1_Pin;
  GPIO_InitStruct.Mode = GPIO_MODE_EVT_RISING;
  GPIO_InitStruct.Pull = GPIO_NOPULL;
  HAL_GPIO_Init(GPIOA, &GPIO_InitStruct);

  /*Configure GPIO pins : B5_Pin VSYNC_Pin G2_Pin R4_Pin
                           R5_Pin */
  GPIO_InitStruct.Pin = B5_Pin|VSYNC_Pin|G2_Pin|R4_Pin
                          |R5_Pin;
  GPIO_InitStruct.Mode = GPIO_MODE_AF_PP;
  GPIO_InitStruct.Pull = GPIO_NOPULL;
  GPIO_InitStruct.Speed = GPIO_SPEED_FREQ_LOW;
  GPIO_InitStruct.Alternate = GPIO_AF14_LTDC;
  HAL_GPIO_Init(GPIOA, &GPIO_InitStruct);

  /*Configure GPIO pin : ACP_RST_Pin */
  GPIO_InitStruct.Pin = ACP_RST_Pin;
  GPIO_InitStruct.Mode = GPIO_MODE_OUTPUT_PP;
  GPIO_InitStruct.Pull = GPIO_NOPULL;
  GPIO_InitStruct.Speed = GPIO_SPEED_FREQ_LOW;
  HAL_GPIO_Init(ACP_RST_GPIO_Port, &GPIO_InitStruct);

  /*Configure GPIO pin : OTG_FS_OC_Pin */
  GPIO_InitStruct.Pin = OTG_FS_OC_Pin;
  GPIO_InitStruct.Mode = GPIO_MODE_EVT_RISING;
  GPIO_InitStruct.Pull = GPIO_NOPULL;
  HAL_GPIO_Init(OTG_FS_OC_GPIO_Port, &GPIO_InitStruct);

  /*Configure GPIO pins : R3_Pin R6_Pin */
  GPIO_InitStruct.Pin = R3_Pin|R6_Pin;
  GPIO_InitStruct.Mode = GPIO_MODE_AF_PP;
  GPIO_InitStruct.Pull = GPIO_NOPULL;
  GPIO_InitStruct.Speed = GPIO_SPEED_FREQ_LOW;
  GPIO_InitStruct.Alternate = GPIO_AF9_LTDC;
  HAL_GPIO_Init(GPIOB, &GPIO_InitStruct);

  /*Configure GPIO pin : BOOT1_Pin */
  GPIO_InitStruct.Pin = BOOT1_Pin;
  GPIO_InitStruct.Mode = GPIO_MODE_INPUT;
  GPIO_InitStruct.Pull = GPIO_NOPULL;
  HAL_GPIO_Init(BOOT1_GPIO_Port, &GPIO_InitStruct);

  /*Configure GPIO pins : A10_Pin A11_Pin BA0_Pin BA1_Pin
                           SDCLK_Pin SDNCAS_Pin */
  GPIO_InitStruct.Pin = A10_Pin|A11_Pin|BA0_Pin|BA1_Pin
                          |SDCLK_Pin|SDNCAS_Pin;
  GPIO_InitStruct.Mode = GPIO_MODE_AF_PP;
  GPIO_InitStruct.Pull = GPIO_NOPULL;
  GPIO_InitStruct.Speed = GPIO_SPEED_FREQ_VERY_HIGH;
  GPIO_InitStruct.Alternate = GPIO_AF12_FMC;
  HAL_GPIO_Init(GPIOG, &GPIO_InitStruct);

  /*Configure GPIO pins : D4_Pin D5_Pin D6_Pin D7_Pin
                           D8_Pin D9_Pin D10_Pin D11_Pin
                           D12_Pin NBL0_Pin NBL1_Pin */
  GPIO_InitStruct.Pin = D4_Pin|D5_Pin|D6_Pin|D7_Pin
                          |D8_Pin|D9_Pin|D10_Pin|D11_Pin
                          |D12_Pin|NBL0_Pin|NBL1_Pin;
  GPIO_InitStruct.Mode = GPIO_MODE_AF_PP;
  GPIO_InitStruct.Pull = GPIO_NOPULL;
  GPIO_InitStruct.Speed = GPIO_SPEED_FREQ_VERY_HIGH;
  GPIO_InitStruct.Alternate = GPIO_AF12_FMC;
  HAL_GPIO_Init(GPIOE, &GPIO_InitStruct);

  /*Configure GPIO pins : G4_Pin G5_Pin B6_Pin B7_Pin */
  GPIO_InitStruct.Pin = G4_Pin|G5_Pin|B6_Pin|B7_Pin;
  GPIO_InitStruct.Mode = GPIO_MODE_AF_PP;
  GPIO_InitStruct.Pull = GPIO_NOPULL;
  GPIO_InitStruct.Speed = GPIO_SPEED_FREQ_LOW;
  GPIO_InitStruct.Alternate = GPIO_AF14_LTDC;
  HAL_GPIO_Init(GPIOB, &GPIO_InitStruct);

  /*Configure GPIO pins : OTG_HS_ID_Pin OTG_HS_DM_Pin OTG_HS_DP_Pin */
  GPIO_InitStruct.Pin = OTG_HS_ID_Pin|OTG_HS_DM_Pin|OTG_HS_DP_Pin;
  GPIO_InitStruct.Mode = GPIO_MODE_AF_PP;
  GPIO_InitStruct.Pull = GPIO_NOPULL;
  GPIO_InitStruct.Speed = GPIO_SPEED_FREQ_LOW;
  GPIO_InitStruct.Alternate = GPIO_AF12_OTG_HS_FS;
  HAL_GPIO_Init(GPIOB, &GPIO_InitStruct);

  /*Configure GPIO pin : VBUS_HS_Pin */
  GPIO_InitStruct.Pin = VBUS_HS_Pin;
  GPIO_InitStruct.Mode = GPIO_MODE_INPUT;
  GPIO_InitStruct.Pull = GPIO_NOPULL;
  HAL_GPIO_Init(VBUS_HS_GPIO_Port, &GPIO_InitStruct);

  /*Configure GPIO pins : D13_Pin D14_Pin D15_Pin D0_Pin
                           D1_Pin D2_Pin D3_Pin */
  GPIO_InitStruct.Pin = D13_Pin|D14_Pin|D15_Pin|D0_Pin
                          |D1_Pin|D2_Pin|D3_Pin;
  GPIO_InitStruct.Mode = GPIO_MODE_AF_PP;
  GPIO_InitStruct.Pull = GPIO_NOPULL;
  GPIO_InitStruct.Speed = GPIO_SPEED_FREQ_VERY_HIGH;
  GPIO_InitStruct.Alternate = GPIO_AF12_FMC;
  HAL_GPIO_Init(GPIOD, &GPIO_InitStruct);

  /*Configure GPIO pin : TE_Pin */
  GPIO_InitStruct.Pin = TE_Pin;
  GPIO_InitStruct.Mode = GPIO_MODE_INPUT;
  GPIO_InitStruct.Pull = GPIO_NOPULL;
  HAL_GPIO_Init(TE_GPIO_Port, &GPIO_InitStruct);

  /*Configure GPIO pins : RDX_Pin WRX_DCX_Pin */
  GPIO_InitStruct.Pin = RDX_Pin|WRX_DCX_Pin;
  GPIO_InitStruct.Mode = GPIO_MODE_OUTPUT_PP;
  GPIO_InitStruct.Pull = GPIO_NOPULL;
  GPIO_InitStruct.Speed = GPIO_SPEED_FREQ_LOW;
  HAL_GPIO_Init(GPIOD, &GPIO_InitStruct);

  /*Configure GPIO pins : R7_Pin DOTCLK_Pin B3_Pin */
  GPIO_InitStruct.Pin = R7_Pin|DOTCLK_Pin|B3_Pin;
  GPIO_InitStruct.Mode = GPIO_MODE_AF_PP;
  GPIO_InitStruct.Pull = GPIO_NOPULL;
  GPIO_InitStruct.Speed = GPIO_SPEED_FREQ_LOW;
  GPIO_InitStruct.Alternate = GPIO_AF14_LTDC;
  HAL_GPIO_Init(GPIOG, &GPIO_InitStruct);

  /*Configure GPIO pins : HSYNC_Pin G6_Pin R2_Pin */
  GPIO_InitStruct.Pin = HSYNC_Pin|G6_Pin|R2_Pin;
  GPIO_InitStruct.Mode = GPIO_MODE_AF_PP;
  GPIO_InitStruct.Pull = GPIO_NOPULL;
  GPIO_InitStruct.Speed = GPIO_SPEED_FREQ_LOW;
  GPIO_InitStruct.Alternate = GPIO_AF14_LTDC;
  HAL_GPIO_Init(GPIOC, &GPIO_InitStruct);

  /*Configure GPIO pin : I2C3_SDA_Pin */
  GPIO_InitStruct.Pin = I2C3_SDA_Pin;
  GPIO_InitStruct.Mode = GPIO_MODE_AF_OD;
  GPIO_InitStruct.Pull = GPIO_NOPULL;
  GPIO_InitStruct.Speed = GPIO_SPEED_FREQ_LOW;
  GPIO_InitStruct.Alternate = GPIO_AF4_I2C3;
  HAL_GPIO_Init(I2C3_SDA_GPIO_Port, &GPIO_InitStruct);

  /*Configure GPIO pin : I2C3_SCL_Pin */
  GPIO_InitStruct.Pin = I2C3_SCL_Pin;
  GPIO_InitStruct.Mode = GPIO_MODE_AF_OD;
  GPIO_InitStruct.Pull = GPIO_NOPULL;
  GPIO_InitStruct.Speed = GPIO_SPEED_FREQ_LOW;
  GPIO_InitStruct.Alternate = GPIO_AF4_I2C3;
  HAL_GPIO_Init(I2C3_SCL_GPIO_Port, &GPIO_InitStruct);

  /*Configure GPIO pins : STLINK_RX_Pin STLINK_TX_Pin */
  GPIO_InitStruct.Pin = STLINK_RX_Pin|STLINK_TX_Pin;
  GPIO_InitStruct.Mode = GPIO_MODE_AF_PP;
  GPIO_InitStruct.Pull = GPIO_NOPULL;
  GPIO_InitStruct.Speed = GPIO_SPEED_FREQ_VERY_HIGH;
  GPIO_InitStruct.Alternate = GPIO_AF7_USART1;
  HAL_GPIO_Init(GPIOA, &GPIO_InitStruct);

  /*Configure GPIO pins : G7_Pin B2_Pin */
  GPIO_InitStruct.Pin = G7_Pin|B2_Pin;
  GPIO_InitStruct.Mode = GPIO_MODE_AF_PP;
  GPIO_InitStruct.Pull = GPIO_NOPULL;
  GPIO_InitStruct.Speed = GPIO_SPEED_FREQ_LOW;
  GPIO_InitStruct.Alternate = GPIO_AF14_LTDC;
  HAL_GPIO_Init(GPIOD, &GPIO_InitStruct);

  /*Configure GPIO pins : G3_Pin B4_Pin */
  GPIO_InitStruct.Pin = G3_Pin|B4_Pin;
  GPIO_InitStruct.Mode = GPIO_MODE_AF_PP;
  GPIO_InitStruct.Pull = GPIO_NOPULL;
  GPIO_InitStruct.Speed = GPIO_SPEED_FREQ_LOW;
  GPIO_InitStruct.Alternate = GPIO_AF9_LTDC;
  HAL_GPIO_Init(GPIOG, &GPIO_InitStruct);

  /*Configure GPIO pins : LD3_Pin LD4_Pin */
  GPIO_InitStruct.Pin = LD3_Pin|LD4_Pin;
  GPIO_InitStruct.Mode = GPIO_MODE_OUTPUT_PP;
  GPIO_InitStruct.Pull = GPIO_NOPULL;
  GPIO_InitStruct.Speed = GPIO_SPEED_FREQ_LOW;
  HAL_GPIO_Init(GPIOG, &GPIO_InitStruct);

  /*Configure GPIO pins : SDCKE1_Pin SDNE1_Pin */
  GPIO_InitStruct.Pin = SDCKE1_Pin|SDNE1_Pin;
  GPIO_InitStruct.Mode = GPIO_MODE_AF_PP;
  GPIO_InitStruct.Pull = GPIO_NOPULL;
  GPIO_InitStruct.Speed = GPIO_SPEED_FREQ_VERY_HIGH;
  GPIO_InitStruct.Alternate = GPIO_AF12_FMC;
  HAL_GPIO_Init(GPIOB, &GPIO_InitStruct);

}

/* USER CODE BEGIN 4 */

static void led_green_handler(void *pvParam)
{

	TickType_t xLastWakeTime;
	BaseType_t xWasDelayed;

	xLastWakeTime = xTaskGetTickCount ();

	while(1)
	{
		HAL_GPIO_TogglePin(GPIOG, LD3_Pin);
		SEGGER_SYSVIEW_PrintfTarget("green");
		//HAL_Delay(1000);
		//vTaskDelay(pdMS_TO_TICKS(1000));
		xWasDelayed = xTaskDelayUntil(&xLastWakeTime, pdMS_TO_TICKS(1000));
		configASSERT(pdPASS == xWasDelayed);
	}

	vTaskDelete(NULL);

}

static void led_red_handler(void *pvParam)
{
	TickType_t xLastWakeTime;
	BaseType_t xWasDelayed;

	xLastWakeTime = xTaskGetTickCount ();

	while(1) {
		HAL_GPIO_TogglePin(GPIOG, LD4_Pin);
		SEGGER_SYSVIEW_PrintfTarget("red");
		//HAL_Delay(250);
		//vTaskDelay(pdMS_TO_TICKS(250));
		xWasDelayed = xTaskDelayUntil(&xLastWakeTime,pdMS_TO_TICKS(250));
		configASSERT(pdPASS == xWasDelayed);
	}

	vTaskDelete(NULL);
}

static void dummy_handler(void *pvParam)
{
	TickType_t xLastWakeTime;
	BaseType_t xWasDelayed;

	xLastWakeTime = xTaskGetTickCount ();

	while(1) {

		SEGGER_SYSVIEW_PrintfTarget("dummy");
		//HAL_Delay(400);
		//vTaskDelay(pdMS_TO_TICKS(400));
		xWasDelayed = xTaskDelayUntil(&xLastWakeTime,pdMS_TO_TICKS(400));
		configASSERT(pdPASS == xWasDelayed);
	}

	vTaskDelete(NULL);
}

/* USER CODE END 4 */

void HAL_TIM_PeriodElapsedCallback(TIM_HandleTypeDef *htim)
{
  if (htim->Instance == TIM6) {
    HAL_IncTick();
  }
}

void Error_Handler(void)
{
  __disable_irq();
  while (1)
  {
  }
}
